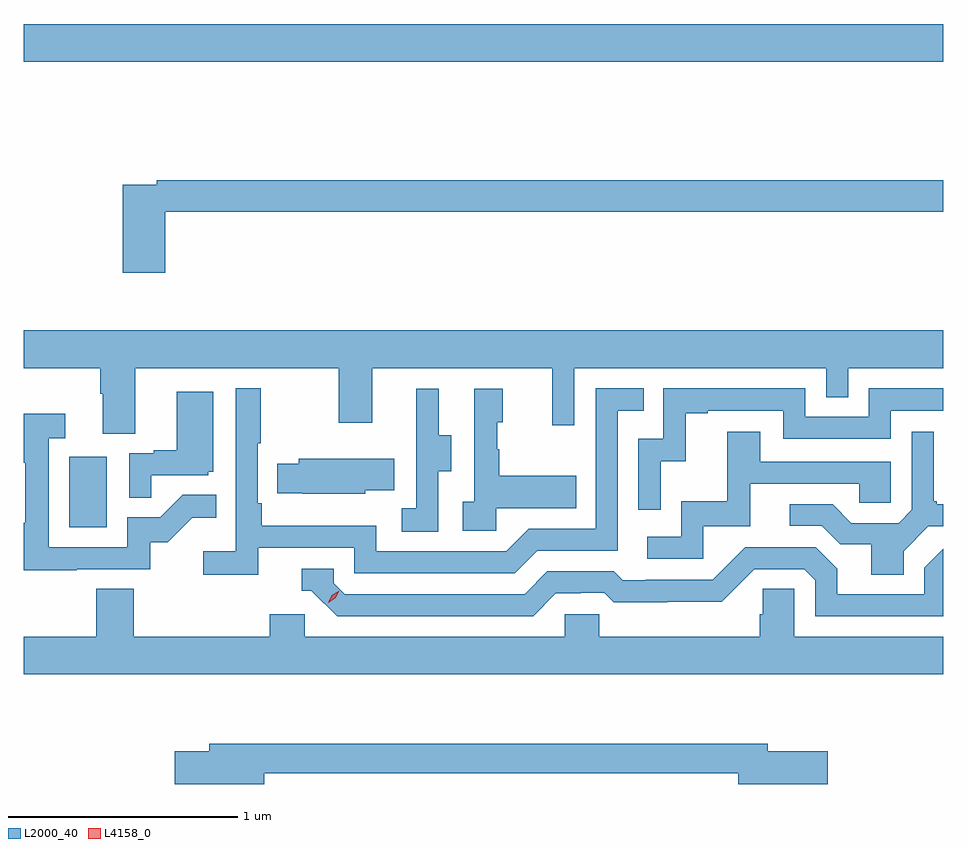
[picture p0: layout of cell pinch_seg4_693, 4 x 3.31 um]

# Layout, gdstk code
import gdstk
lib = gdstk.Library(unit=1e-6, precision=1e-09)
def R(c, l, rs):  # rectangles x0, y0, x1, y1
    for r in rs: c.add(gdstk.rectangle(r[:2], r[2:], *l))
def P(c, l, *ps):  # polygons
    for p in ps: c.add(gdstk.Polygon(p, *l))
L2000_40 = (2000, 40)
L4158_0 = (4158, 0)

pinch_seg4_693 = lib.new_cell('pinch_seg4_693')
R(pinch_seg4_693, L2000_40, [(1113.038,754.836,1113.202,755.143), (1112.84,756.86,1116.84,757.024)])
P(pinch_seg4_693, L2000_40, [(1113.455,756.208),(1116.84,756.208),(1116.84,756.344),(1113.418,756.344),(1113.418,756.324),(1113.272,756.324),(1113.272,755.943),(1113.455,755.943)],
  [(1113.325,755.528),(1114.21,755.528),(1114.21,755.289),(1114.357,755.289),(1114.357,755.528),(1115.138,755.528),(1115.138,755.28),(1115.235,755.28),(1115.235,755.528),(1116.33,755.528),(1116.33,755.401),(1116.426,755.401),(1116.426,755.528),(1116.84,755.528),(1116.84,755.692),(1112.84,755.692),(1112.84,755.528),(1113.173,755.528),(1113.173,755.416),(1113.185,755.416),(1113.185,755.242),(1113.325,755.242)],
  [(1113.86,754.746),(1114.278,754.746),(1114.278,754.635),(1114.975,754.635),(1115.074,754.734),(1115.424,754.734),(1115.424,755.343),(1115.537,755.343),(1115.537,755.439),(1115.328,755.439),(1115.328,754.83),(1115.037,754.83),(1114.938,754.731),(1114.374,754.731),(1114.374,754.843),(1113.875,754.843),(1113.875,754.939),(1113.858,754.939),(1113.858,755.2),(1113.871,755.2),(1113.871,755.44),(1113.762,755.44),(1113.762,754.732),(1113.621,754.732),(1113.621,754.63),(1113.86,754.63)],
  [(1115.61,755.123),(1115.72,755.123),(1115.72,755.331),(1115.815,755.331),(1115.815,755.343),(1116.144,755.343),(1116.144,755.22),(1116.612,755.22),(1116.612,755.343),(1116.84,755.343),(1116.84,755.439),(1116.516,755.439),(1116.516,755.316),(1116.24,755.316),(1116.24,755.439),(1115.622,755.439),(1115.622,755.22),(1115.514,755.22),(1115.514,754.911),(1115.61,754.911)],
  [(1114.896,754.919),(1115.243,754.919),(1115.243,755.059),(1114.909,755.059),(1114.909,755.174),(1114.899,755.174),(1114.899,755.292),(1114.924,755.292),(1114.924,755.437),(1114.8,755.437),(1114.8,754.946),(1114.749,754.946),(1114.749,754.821),(1114.896,754.821)],
  [(1114.644,755.08),(1114.699,755.08),(1114.699,755.235),(1114.645,755.235),(1114.645,755.437),(1114.547,755.437),(1114.547,755.223),(1114.548,755.223),(1114.548,754.919),(1114.485,754.919),(1114.485,754.816),(1114.644,754.816)],
  [(1113.395,755.061),(1113.642,755.061),(1113.642,755.076),(1113.664,755.076),(1113.664,755.425),(1113.506,755.425),(1113.506,755.17),(1113.407,755.17),(1113.407,755.157),(1113.3,755.157),(1113.3,754.963),(1113.395,754.963)],
  [(1113.071,754.653),(1113.39,754.653),(1113.39,754.77),(1113.466,754.77),(1113.573,754.877),(1113.677,754.877),(1113.677,754.976),(1113.533,754.976),(1113.435,754.878),(1113.291,754.878),(1113.291,754.749),(1112.949,754.749),(1112.949,755.223),(1113.022,755.223),(1113.022,755.329),(1112.84,755.329),(1112.84,755.116),(1112.848,755.116),(1112.848,754.856),(1112.84,754.856),(1112.84,754.648),(1113.071,754.648)],
  [(1116.667,754.732),(1116.774,754.839),(1116.84,754.839),(1116.84,754.936),(1116.811,754.936),(1116.811,754.948),(1116.799,754.948),(1116.799,755.251),(1116.702,755.251),(1116.702,754.911),(1116.645,754.854),(1116.439,754.854),(1116.358,754.935),(1116.171,754.935),(1116.171,754.842),(1116.312,754.842),(1116.392,754.762),(1116.527,754.762),(1116.527,754.63),(1116.667,754.63)],
  [(1115.796,754.839),(1116.001,754.839),(1116.001,755.025),(1116.475,755.025),(1116.475,754.941),(1116.612,754.941),(1116.612,755.121),(1116.043,755.121),(1116.043,755.251),(1115.899,755.251),(1115.899,754.948),(1115.7,754.948),(1115.7,754.794),(1115.553,754.794),(1115.553,754.698),(1115.796,754.698)],
  [(1114.326,754.997),(1114.451,754.997),(1114.451,755.134),(1114.037,755.134),(1114.037,755.112),(1113.943,755.112),(1113.943,754.983),(1114.054,754.983),(1114.054,754.982),(1114.326,754.982)],
  [(1115.155,754.548),(1115.262,754.548),(1115.262,754.551),(1115.365,754.551),(1115.407,754.509),(1115.64,754.509),(1115.64,754.511),(1115.876,754.511),(1116.018,754.653),(1116.234,754.653),(1116.282,754.605),(1116.282,754.449),(1116.84,754.449),(1116.84,754.743),(1116.756,754.659),(1116.756,754.545),(1116.379,754.545),(1116.379,754.655),(1116.285,754.749),(1115.979,754.749),(1115.838,754.608),(1115.545,754.608),(1115.545,754.605),(1115.446,754.605),(1115.407,754.644),(1115.118,754.644),(1115.019,754.545),(1114.236,754.545),(1114.188,754.593),(1114.188,754.656),(1114.049,754.656),(1114.049,754.56),(1114.092,754.56),(1114.203,754.449),(1115.056,754.449)],
  [(1116.84,754.36),(1116.192,754.36),(1116.192,754.568),(1116.055,754.568),(1116.055,754.458),(1116.041,754.458),(1116.041,754.36),(1115.343,754.36),(1115.343,754.458),(1115.193,754.458),(1115.193,754.36),(1114.062,754.36),(1114.062,754.458),(1113.911,754.458),(1113.911,754.36),(1113.32,754.36),(1113.32,754.568),(1113.155,754.568),(1113.155,754.36),(1112.84,754.36),(1112.84,754.196),(1116.84,754.196)],
  [(1113.886,753.766),(1115.948,753.766),(1115.948,753.719),(1116.337,753.719),(1116.337,753.861),(1116.076,753.861),(1116.076,753.895),(1113.647,753.895),(1113.647,753.861),(1113.498,753.861),(1113.498,753.719),(1113.886,753.719)])
P(pinch_seg4_693, L4158_0, [(1114.165,754.507),(1114.165,754.507),(1114.181,754.54),(1114.212,754.559),(1114.212,754.559),(1114.212,754.559),(1114.196,754.526),(1114.165,754.507)])

lib.write_gds('pinch_seg4_693.gds')
